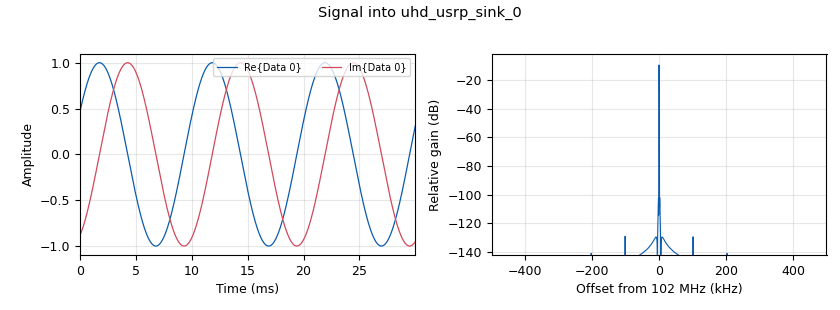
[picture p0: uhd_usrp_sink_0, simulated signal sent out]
options:
  parameters:
    generate_options: no_gui
    id: cosine
    output_language: python
    title: Not titled yet
  states: {}

blocks:
- name: freq
  id: variable
  parameters:
    value: 102e6
  states: {}
- name: samp_rate
  id: variable
  parameters:
    value: 1e6
  states: {}
- name: sig_freq
  id: variable
  parameters:
    value: '99'
  states: {}
- name: analog_sig_source_x_0
  id: analog_sig_source_x
  parameters:
    amp: '1'
    freq: sig_freq
    offset: '0'
    phase: '0'
    samp_rate: samp_rate
    type: complex
    waveform: analog.GR_COS_WAVE
  states: {}
- name: uhd_usrp_sink_0
  id: uhd_usrp_sink
  parameters:
    ant0: '"TX/RX"'
    bw0: samp_rate
    center_freq0: freq
    dev_args: type=b200
    gain0: '40'
    samp_rate: samp_rate
    sync: sync
    type: fc32
  states: {}

connections:
- [analog_sig_source_x_0, '0', uhd_usrp_sink_0, '0']

metadata:
  file_format: 1
  grc_version: 3.10.7.0
